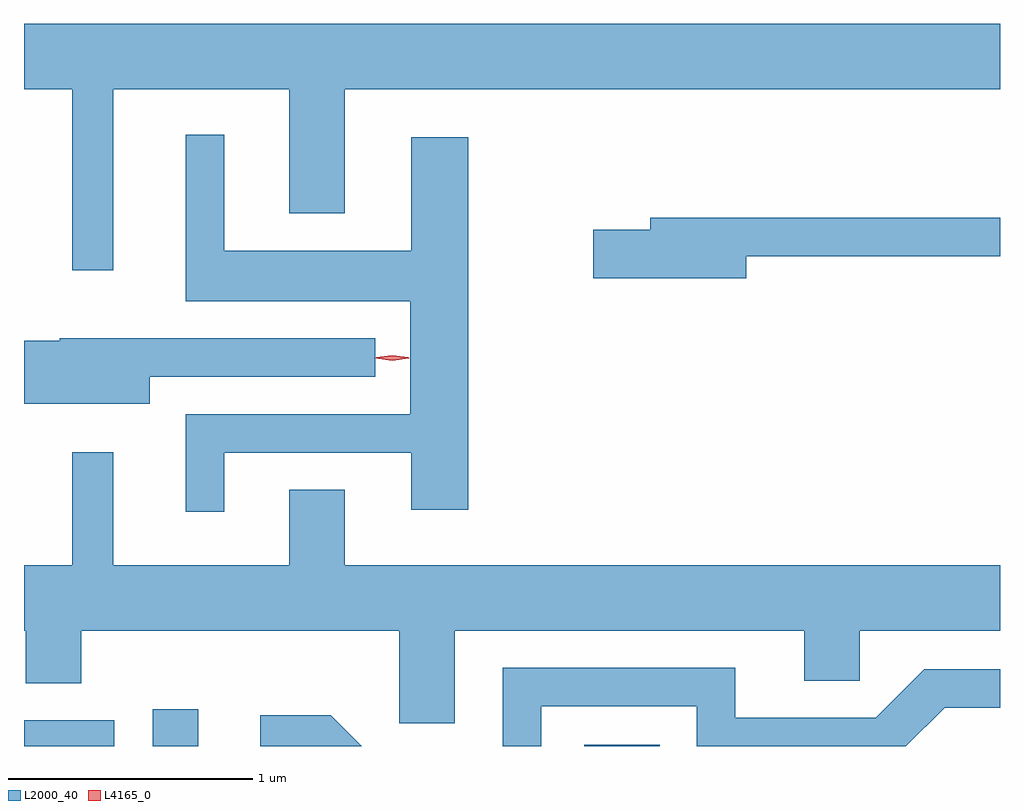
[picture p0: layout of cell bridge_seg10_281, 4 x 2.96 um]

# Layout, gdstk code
import gdstk
lib = gdstk.Library(unit=1e-6, precision=1e-09)
def R(c, l, rs):  # rectangles x0, y0, x1, y1
    for r in rs: c.add(gdstk.rectangle(r[:2], r[2:], *l))
def P(c, l, *ps):  # polygons
    for p in ps: c.add(gdstk.Polygon(p, *l))
L2000_40 = (2000, 40)
L4165_0 = (4165, 0)

bridge_seg10_281 = lib.new_cell('bridge_seg10_281')
R(bridge_seg10_281, L2000_40, [(1435.044,2155.622,1435.414,2155.729), (1435.571,2155.622,1435.759,2155.774), (1437.341,2155.622,1437.649,2155.629)])
P(bridge_seg10_281, L2000_40, [(1435.409,2158.316),(1436.131,2158.316),(1436.131,2157.806),(1436.359,2157.806),(1436.359,2158.316),(1439.044,2158.316),(1439.044,2158.584),(1435.044,2158.584),(1435.044,2158.316),(1435.241,2158.316),(1435.241,2157.573),(1435.409,2157.573)],
  [(1435.864,2156.826),(1436.631,2156.826),(1436.631,2156.591),(1436.864,2156.591),(1436.864,2158.119),(1436.631,2158.119),(1436.631,2157.654),(1435.864,2157.654),(1435.864,2158.128),(1435.706,2158.128),(1435.706,2157.446),(1436.626,2157.446),(1436.626,2156.984),(1435.706,2156.984),(1435.706,2156.583),(1435.864,2156.583)],
  [(1438.004,2157.631),(1439.044,2157.631),(1439.044,2157.789),(1437.611,2157.789),(1437.611,2157.739),(1437.376,2157.739),(1437.376,2157.541),(1438.004,2157.541)],
  [(1435.559,2157.136),(1436.483,2157.136),(1436.483,2157.294),(1435.19,2157.294),(1435.19,2157.284),(1435.044,2157.284),(1435.044,2157.026),(1435.559,2157.026)],
  [(1436.809,2156.096),(1438.241,2156.096),(1438.241,2155.891),(1438.469,2155.891),(1438.469,2156.096),(1439.044,2156.096),(1439.044,2156.364),(1436.359,2156.364),(1436.359,2156.674),(1436.131,2156.674),(1436.131,2156.364),(1435.409,2156.364),(1435.409,2156.828),(1435.241,2156.828),(1435.241,2156.364),(1435.044,2156.364),(1435.044,2156.096),(1435.051,2156.096),(1435.051,2155.881),(1435.279,2155.881),(1435.279,2156.096),(1436.581,2156.096),(1436.581,2155.716),(1436.809,2155.716)],
  [(1437.164,2155.786),(1437.801,2155.786),(1437.801,2155.622),(1438.658,2155.622),(1438.817,2155.781),(1439.044,2155.781),(1439.044,2155.939),(1438.734,2155.939),(1438.534,2155.739),(1437.959,2155.739),(1437.959,2155.944),(1437.006,2155.944),(1437.006,2155.622),(1437.164,2155.622)],
  [(1436.302,2155.749),(1436.013,2155.749),(1436.013,2155.622),(1436.429,2155.622)])
P(bridge_seg10_281, L4165_0, [(1436.553,2157.202),(1436.484,2157.212),(1436.484,2157.212),(1436.484,2157.213),(1436.553,2157.222),(1436.622,2157.213),(1436.623,2157.212),(1436.622,2157.212)],
  [(1436.553,2157.205),(1436.487,2157.214),(1436.487,2157.215),(1436.487,2157.216),(1436.553,2157.225),(1436.619,2157.216),(1436.62,2157.215),(1436.619,2157.214)])

lib.write_gds('bridge_seg10_281.gds')
